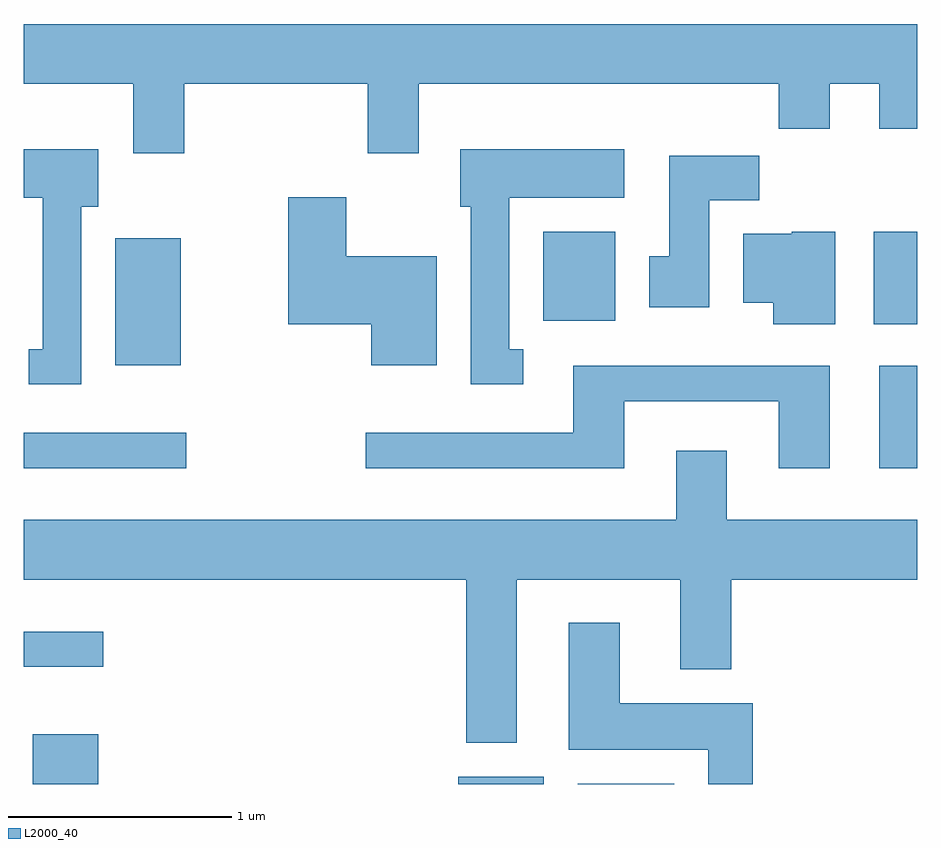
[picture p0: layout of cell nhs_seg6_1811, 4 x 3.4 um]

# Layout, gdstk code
import gdstk
lib = gdstk.Library(unit=1e-6, precision=1e-09)
def R(c, l, rs):  # rectangles x0, y0, x1, y1
    for r in rs: c.add(gdstk.rectangle(r[:2], r[2:], *l))
def P(c, l, *ps):  # polygons
    for p in ps: c.add(gdstk.Polygon(p, *l))
L2000_40 = (2000, 40)

nhs_seg6_1811 = lib.new_cell('nhs_seg6_1811')
R(nhs_seg6_1811, L2000_40, [(239.651,1620.162,239.944,1620.384), (241.556,1620.162,241.939,1620.194), (242.091,1620.162,242.524,1620.164), (239.611,1620.686,239.968,1620.844), (239.611,1621.576,240.338,1621.734), (243.441,1621.576,243.611,1622.034), (240.021,1622.036,240.314,1622.604), (241.936,1622.236,242.259,1622.634)])
P(nhs_seg6_1811, L2000_40, [(240.329,1623.296),(241.151,1623.296),(241.151,1622.986),(241.379,1622.986),(241.379,1623.296),(242.991,1623.296),(242.991,1623.096),(243.219,1623.096),(243.219,1623.296),(243.441,1623.296),(243.441,1623.096),(243.611,1623.096),(243.611,1623.564),(239.611,1623.564),(239.611,1623.296),(240.101,1623.296),(240.101,1622.986),(240.329,1622.986)],
  [(239.869,1622.746),(239.944,1622.746),(239.944,1623.004),(239.611,1623.004),(239.611,1622.786),(239.696,1622.786),(239.696,1622.109),(239.633,1622.109),(239.633,1621.951),(239.869,1621.951)],
  [(241.848,1622.109),(241.784,1622.109),(241.784,1622.786),(242.299,1622.786),(242.299,1623.004),(241.566,1623.004),(241.566,1622.746),(241.611,1622.746),(241.611,1621.951),(241.848,1621.951)],
  [(242.679,1622.776),(242.904,1622.776),(242.904,1622.974),(242.501,1622.974),(242.501,1622.524),(242.411,1622.524),(242.411,1622.296),(242.679,1622.296)],
  [(241.459,1622.524),(241.054,1622.524),(241.054,1622.789),(240.796,1622.789),(240.796,1622.221),(241.166,1622.221),(241.166,1622.036),(241.459,1622.036)],
  [(243.244,1622.634),(243.05,1622.634),(243.05,1622.624),(242.831,1622.624),(242.831,1622.316),(242.966,1622.316),(242.966,1622.221),(243.244,1622.221)],
  [(243.611,1622.624),(243.61,1622.624),(243.61,1622.634),(243.416,1622.634),(243.416,1622.221),(243.611,1622.221)],
  [(242.299,1621.876),(242.991,1621.876),(242.991,1621.576),(243.219,1621.576),(243.219,1622.034),(242.071,1622.034),(242.071,1621.734),(241.143,1621.734),(241.143,1621.576),(242.299,1621.576)],
  [(239.611,1621.076),(241.591,1621.076),(241.591,1620.346),(241.819,1620.346),(241.819,1621.076),(242.551,1621.076),(242.551,1620.676),(242.779,1620.676),(242.779,1621.076),(243.611,1621.076),(243.611,1621.344),(242.759,1621.344),(242.759,1621.654),(242.531,1621.654),(242.531,1621.344),(239.611,1621.344)],
  [(242.874,1620.524),(242.279,1620.524),(242.279,1620.884),(242.051,1620.884),(242.051,1620.316),(242.676,1620.316),(242.676,1620.162),(242.874,1620.162)])

lib.write_gds('nhs_seg6_1811.gds')
